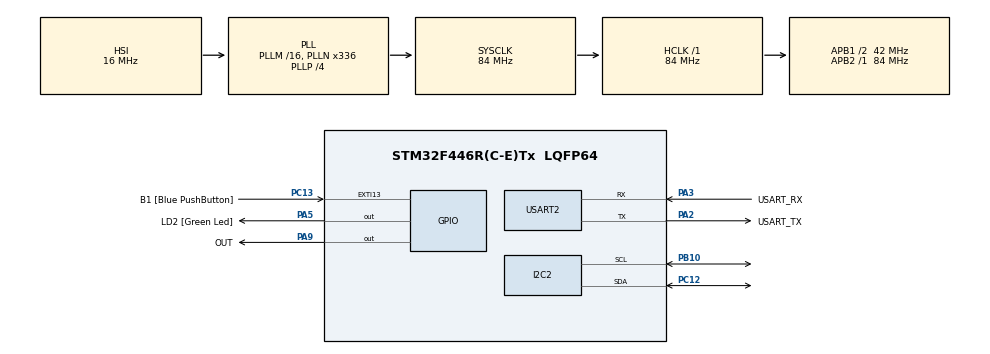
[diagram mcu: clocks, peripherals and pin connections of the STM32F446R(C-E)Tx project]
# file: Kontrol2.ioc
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Mcu.Family=STM32F4
Mcu.Name=STM32F446R(C-E)Tx
Mcu.Package=LQFP64
NVIC.PriorityGroup=NVIC_PRIORITYGROUP_4
PA13.GPIO_Label=TMS
PA13.Mode=Serial_Wire
PA13.Signal=SYS_JTMS-SWDIO
PA14.GPIO_Label=TCK
PA14.Mode=Serial_Wire
PA14.Signal=SYS_JTCK-SWCLK
PA2.GPIO_Label=USART_TX
PA2.Mode=Asynchronous
PA2.Signal=USART2_TX
PA3.GPIO_Label=USART_RX
PA3.Mode=Asynchronous
PA3.Signal=USART2_RX
PA5.GPIO_Label=LD2 [Green Led]
PA5.Signal=GPIO_Output
PA9.GPIO_Label=OUT
PA9.Signal=GPIO_Output
PB10.Mode=I2C
PB10.Signal=I2C2_SCL
PB3.GPIO_Label=SWO
PB3.Signal=SYS_JTDO-SWO
PC12.Mode=I2C
PC12.Signal=I2C2_SDA
PC13.GPIO_Label=B1 [Blue PushButton]
PC13.GPIO_ModeDefaultEXTI=GPIO_MODE_IT_FALLING
PC13.Signal=GPXTI13
PC14-OSC32_IN.Signal=RCC_OSC32_IN
PC15-OSC32_OUT.Signal=RCC_OSC32_OUT
PH0-OSC_IN.Mode=HSE-External-Oscillator
PH0-OSC_IN.Signal=RCC_OSC_IN
PH1-OSC_OUT.Mode=HSE-External-Oscillator
PH1-OSC_OUT.Signal=RCC_OSC_OUT
ProjectManager.HeapSize=0x200
ProjectManager.StackSize=0x400
ProjectManager.TargetToolchain=STM32CubeIDE
RCC.48MHZClocksFreq_Value=84000000
RCC.AHBFreq_Value=84000000
RCC.APB1CLKDivider=RCC_HCLK_DIV2
RCC.APB1Freq_Value=42000000
RCC.APB1TimFreq_Value=84000000
RCC.APB2Freq_Value=84000000
RCC.APB2TimFreq_Value=84000000
RCC.CortexFreq_Value=84000000
RCC.FLatency-AdvancedSettings=FLASH_LATENCY_2
RCC.HCLKFreq_Value=84000000
RCC.HSE_VALUE=8000000
RCC.HSI_VALUE=16000000
RCC.PLLN=336
RCC.PLLP=RCC_PLLP_DIV4
RCC.SYSCLKFreq_VALUE=84000000
RCC.SYSCLKSource=RCC_SYSCLKSOURCE_PLLCLK
RCC.USBFreq_Value=168000000
RCC.VCOOutputFreq_Value=336000000
USART2.VirtualMode=VM_ASYNC
board=NUCLEO-F446RE

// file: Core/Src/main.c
/* USER CODE BEGIN Header */
/**
  ******************************************************************************
  * @file           : main.c
  * @brief          : Main program body
  ******************************************************************************
  * @attention
  *
  * Copyright (c) 2025 STMicroelectronics.
  * All rights reserved.
  *
  * This software is licensed under terms that can be found in the LICENSE file
  * in the root directory of this software component.
  * If no LICENSE file comes with this software, it is provided AS-IS.
  *
  ******************************************************************************
  */
/* USER CODE END Header */
#include "main.h"

/* USER CODE BEGIN Includes */

#include "driver_as5600.h"
#include "veriler.h"

/* USER CODE END Includes */

I2C_HandleTypeDef hi2c2;

UART_HandleTypeDef huart2;

/* USER CODE BEGIN PV */

acisal_ivmehiz_t ivmehiz_veri;
as5600_handle_t sensor_handle;

/* USER CODE END PV */

void SystemClock_Config(void);
static void MX_GPIO_Init(void);
static void MX_USART2_UART_Init(void);
static void MX_I2C2_Init(void);

/* USER CODE BEGIN 0 */
    uint8_t tx_buffer[8];
	float hiz;
	float ivme;
    uint8_t VBuffer[4];
    uint8_t ABuffer[4];
    uint16_t aci;

/* USER CODE END 0 */

int main(void)
{

  /* MCU Configuration--------------------------------------------------------*/

  /* Reset of all peripherals, Initializes the Flash interface and the Systick. */
  HAL_Init();

  /* Configure the system clock */
  SystemClock_Config();

  /* Initialize all configured peripherals */
  MX_GPIO_Init();
  MX_USART2_UART_Init();
  MX_I2C2_Init();
  /* USER CODE BEGIN 2 */
  as5600_init(&sensor_handle);
  ivmehiz_veri.sensor = &sensor_handle;
  ivmehiz_veri.onceki_aci = 0.0f;
  ivmehiz_veri.onceki_zaman = HAL_GetTick();

  /* USER CODE END 2 */

  /* Infinite loop */
  while (1)
  {

    /* USER CODE BEGIN 3 */
	  uint32_t zaman = HAL_GetTick();
	  if (as5600_ivmehiz_takip(&ivmehiz_veri, zaman)){

		  hiz = ivmehiz_veri.acisal_hiz;
		  ivme = ivmehiz_veri.acisal_ivme;

		  as5600_get_raw_angle(&sensor_handle, &aci);

	      float angle = as5600_get_angle(&sensor_handle, &aci);

	      HAL_I2C_Master_Receive(&hi2c2, 0x36, VBuffer, 1, 100);

	  }

  }
  /* USER CODE END 3 */
}

void SystemClock_Config(void)
{
  RCC_OscInitTypeDef RCC_OscInitStruct = {0};
  RCC_ClkInitTypeDef RCC_ClkInitStruct = {0};

  /** Configure the main internal regulator output voltage
  */
  __HAL_RCC_PWR_CLK_ENABLE();
  __HAL_PWR_VOLTAGESCALING_CONFIG(PWR_REGULATOR_VOLTAGE_SCALE3);

  /** Initializes the RCC Oscillators according to the specified parameters
  * in the RCC_OscInitTypeDef structure.
  */
  RCC_OscInitStruct.OscillatorType = RCC_OSCILLATORTYPE_HSI;
  RCC_OscInitStruct.HSIState = RCC_HSI_ON;
  RCC_OscInitStruct.HSICalibrationValue = RCC_HSICALIBRATION_DEFAULT;
  RCC_OscInitStruct.PLL.PLLState = RCC_PLL_ON;
  RCC_OscInitStruct.PLL.PLLSource = RCC_PLLSOURCE_HSI;
  RCC_OscInitStruct.PLL.PLLM = 16;
  RCC_OscInitStruct.PLL.PLLN = 336;
  RCC_OscInitStruct.PLL.PLLP = RCC_PLLP_DIV4;
  RCC_OscInitStruct.PLL.PLLQ = 2;
  RCC_OscInitStruct.PLL.PLLR = 2;
  if (HAL_RCC_OscConfig(&RCC_OscInitStruct) != HAL_OK)
  {
    Error_Handler();
  }

  /** Initializes the CPU, AHB and APB buses clocks
  */
  RCC_ClkInitStruct.ClockType = RCC_CLOCKTYPE_HCLK|RCC_CLOCKTYPE_SYSCLK
                              |RCC_CLOCKTYPE_PCLK1|RCC_CLOCKTYPE_PCLK2;
  RCC_ClkInitStruct.SYSCLKSource = RCC_SYSCLKSOURCE_PLLCLK;
  RCC_ClkInitStruct.AHBCLKDivider = RCC_SYSCLK_DIV1;
  RCC_ClkInitStruct.APB1CLKDivider = RCC_HCLK_DIV2;
  RCC_ClkInitStruct.APB2CLKDivider = RCC_HCLK_DIV1;

  if (HAL_RCC_ClockConfig(&RCC_ClkInitStruct, FLASH_LATENCY_2) != HAL_OK)
  {
    Error_Handler();
  }
}

static void MX_I2C2_Init(void)
{

  hi2c2.Instance = I2C2;
  hi2c2.Init.ClockSpeed = 100000;
  hi2c2.Init.DutyCycle = I2C_DUTYCYCLE_2;
  hi2c2.Init.OwnAddress1 = 0;
  hi2c2.Init.AddressingMode = I2C_ADDRESSINGMODE_7BIT;
  hi2c2.Init.DualAddressMode = I2C_DUALADDRESS_DISABLE;
  hi2c2.Init.OwnAddress2 = 0;
  hi2c2.Init.GeneralCallMode = I2C_GENERALCALL_DISABLE;
  hi2c2.Init.NoStretchMode = I2C_NOSTRETCH_DISABLE;
  if (HAL_I2C_Init(&hi2c2) != HAL_OK)
  {
    Error_Handler();
  }

}

static void MX_USART2_UART_Init(void)
{

  huart2.Instance = USART2;
  huart2.Init.BaudRate = 115200;
  huart2.Init.WordLength = UART_WORDLENGTH_8B;
  huart2.Init.StopBits = UART_STOPBITS_1;
  huart2.Init.Parity = UART_PARITY_NONE;
  huart2.Init.Mode = UART_MODE_TX_RX;
  huart2.Init.HwFlowCtl = UART_HWCONTROL_NONE;
  huart2.Init.OverSampling = UART_OVERSAMPLING_16;
  if (HAL_UART_Init(&huart2) != HAL_OK)
  {
    Error_Handler();
  }

}

static void MX_GPIO_Init(void)
{
  GPIO_InitTypeDef GPIO_InitStruct = {0};

  /* GPIO Ports Clock Enable */
  __HAL_RCC_GPIOC_CLK_ENABLE();
  __HAL_RCC_GPIOH_CLK_ENABLE();
  __HAL_RCC_GPIOA_CLK_ENABLE();
  __HAL_RCC_GPIOB_CLK_ENABLE();

  /*Configure GPIO pin Output Level */
  HAL_GPIO_WritePin(GPIOA, LD2_Pin|OUT_Pin, GPIO_PIN_RESET);

  /*Configure GPIO pin : B1_Pin */
  GPIO_InitStruct.Pin = B1_Pin;
  GPIO_InitStruct.Mode = GPIO_MODE_IT_FALLING;
  GPIO_InitStruct.Pull = GPIO_NOPULL;
  HAL_GPIO_Init(B1_GPIO_Port, &GPIO_InitStruct);

  /*Configure GPIO pins : LD2_Pin OUT_Pin */
  GPIO_InitStruct.Pin = LD2_Pin|OUT_Pin;
  GPIO_InitStruct.Mode = GPIO_MODE_OUTPUT_PP;
  GPIO_InitStruct.Pull = GPIO_NOPULL;
  GPIO_InitStruct.Speed = GPIO_SPEED_FREQ_LOW;
  HAL_GPIO_Init(GPIOA, &GPIO_InitStruct);

}

void Error_Handler(void)
{
  __disable_irq();
  while (1)
  {
  }
}
